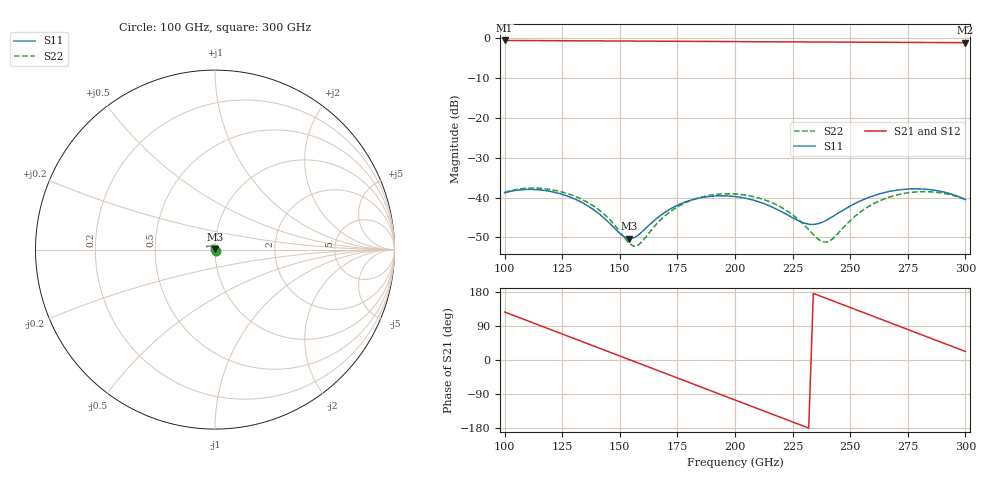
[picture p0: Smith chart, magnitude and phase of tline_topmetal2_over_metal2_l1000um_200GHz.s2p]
#  GHZ S DB R 50
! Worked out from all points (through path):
!   101 points, 100 GHz to 300 GHz, reference 50 ohm
!   highest |S21| = -0.58 dB at 100 GHz (marker M1); lowest = -1.1 dB at 300 GHz (marker M2)
!   group delay of S21, straight-line fit = 6.45 ps
!   lowest |S11| = -50.3 dB at 154 GHz (marker M3), VSWR 1.01, Z = 50.1 + j0.281 ohm
!   |S11| at or under -10 dB: start of sweep to end of sweep
!   |S22| runs from -52.2 to -37.6 dB; largest |S21 - S12| = 1e-13
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100  -38.81 -64.3  -0.58 126.7  -0.58 126.7  -38.70 -64.1
108  -38.00 -88.9  -0.61 108.1  -0.61 108.1  -37.74 -88.4
116  -38.11 -113.1  -0.63 89.5  -0.63 89.5  -37.71 -112.1
124  -39.02 -137.7  -0.65 70.9  -0.65 70.9  -38.46 -135.8
134  -41.37 -170.9  -0.68 47.7  -0.68 47.7  -40.57 -166.8
144  -45.58 146.5  -0.70 24.5  -0.70 24.5  -44.59 156.1
154  -50.31 66.6  -0.73 1.3  -0.73 1.3  -51.42 86.9
158  -49.41 25.9  -0.74 -8.0  -0.74 -8.0  -51.94 36.6
168  -44.33 -37.6  -0.77 -31.2  -0.77 -31.2  -45.41 -40.1
184  -40.17 -98.6  -0.82 -68.4  -0.82 -68.4  -40.10 -99.7
192  -39.57 -125.6  -0.85 -86.9  -0.85 -86.9  -39.19 -125.2
200  -39.74 -152.6  -0.87 -105.5  -0.87 -105.5  -39.09 -150.1
208  -40.64 179.2  -0.90 -124.0  -0.90 -124.0  -39.76 -175.2
218  -42.88 139.2  -0.92 -147.2  -0.92 -147.2  -41.80 151.8
226  -45.37 97.4  -0.94 -165.7  -0.94 -165.7  -44.77 120.7
234  -46.75 40.3  -0.96 175.7  -0.96 175.7  -49.29 73.9
240  -45.57 -3.4  -0.98 161.8  -0.98 161.8  -51.17 13.0
256  -40.44 -81.2  -1.02 124.7  -1.02 124.7  -42.97 -91.5
268  -38.35 -123.3  -1.05 96.8  -1.05 96.8  -39.69 -133.0
282  -37.87 -168.5  -1.09 64.3  -1.09 64.3  -38.51 -176.8
292  -38.81 158.8  -1.12 41.1  -1.12 41.1  -39.11 151.6
300  -40.49 130.5  -1.14 22.6  -1.14 22.6  -40.53 124.4
